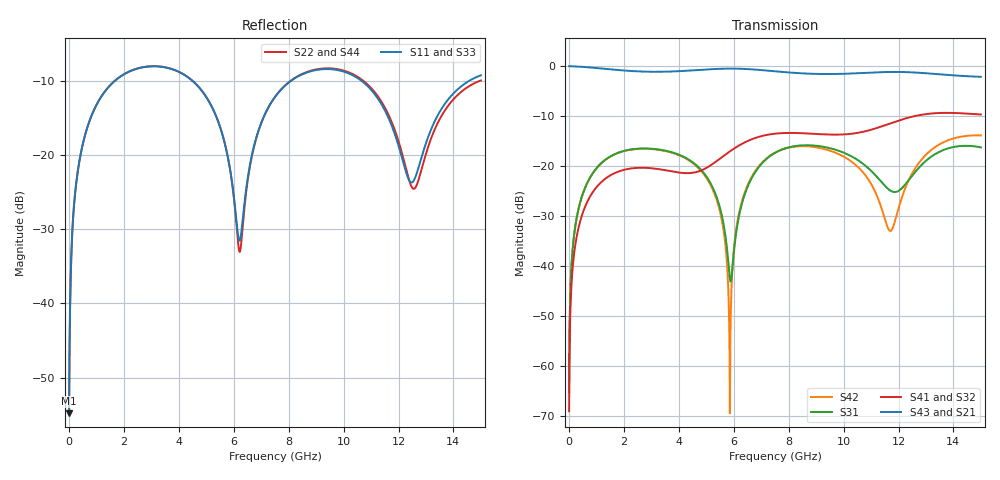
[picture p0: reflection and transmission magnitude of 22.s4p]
! Created with skrf 1.8.0 (http://scikit-rf.org).
# GHz S RI R 50.0
!freq ReS11 ImS11 ReS12 ImS12 ReS13 ImS13
! ReS14 ImS14
! ReS21 ImS21 ReS22 ImS22 ReS23 ImS23
! ReS24 ImS24
! ReS31 ImS31 ReS32 ImS32 ReS33 ImS33
! ReS34 ImS34
! ReS41 ImS41 ReS42 ImS42 ReS43 ImS43
! ReS44 ImS44
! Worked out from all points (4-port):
!   2499 points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, 5 MHz to 15 GHz, reference 50 ohm
!   strongest paths, dB at 5 MHz, 3.476 GHz, 7.19 GHz, 11.1 GHz, 15 GHz:
!     S43: 0.0, -1.1, -0.9, -1.3, -2.1
!     S21: 0.0, -1.1, -0.9, -1.3, -2.1
!     S41: -69.1, -20.8, -13.8, -12.6, -9.7
!     S32: -69.1, -20.9, -13.8, -12.6, -9.8
!     S31: -65.3, -16.9, -18.6, -21.5, -16.3
!     S42: -65.3, -17.0, -18.5, -24.6, -13.9
!   lowest |S11| = -54.8 dB at 5 MHz (marker M1), VSWR 1.00, Z = 50.1 + j0.111 ohm
!   |S11| at or under -10 dB: start of sweep to 1.67 GHz; 4.494 GHz to 8.085 GHz (3.591 GHz wide, 57.1 % of centre); 10.65 GHz to 14.58 GHz (3.924 GHz wide, 31.1 % of centre)
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0.005  0.00145 0.0011  0.9985 -0.00282  7.1e-05 0.000541  -6.91e-05 -0.000344
       0.9985 -0.00282  0.00145 0.0011  -6.91e-05 -0.000344  7.09e-05 0.000541
       7.1e-05 0.000541  -6.91e-05 -0.000344  0.00145 0.0011  0.9985 -0.00282
       -6.91e-05 -0.000344  7.09e-05 0.000541  0.9985 -0.00282  0.00145 0.0011
0.3626511  0.0243 0.0838  0.9666 -0.2027  0.0109 0.0372  -0.00905 -0.0234
           0.9666 -0.2027  0.0243 0.0838  -0.00904 -0.0234  0.0108 0.0372
           0.0109 0.0372  -0.00904 -0.0234  0.0243 0.0838  0.9666 -0.2027
           -0.00905 -0.0234  0.0108 0.0372  0.9666 -0.2027  0.0243 0.0838
1.619545  0.2457 0.1893  0.6021 -0.6983  0.1131 0.0631  -0.0825 -0.0144
          0.6021 -0.6983  0.2463 0.1889  -0.0824 -0.0146  0.1118 0.0646
          0.1131 0.0631  -0.0824 -0.0146  0.2458 0.1893  0.6021 -0.6983
          -0.0825 -0.0144  0.1118 0.0646  0.6021 -0.6983  0.2462 0.189
4.945811  0.1759 -0.1834  -0.6822 -0.6216  0.0365 -0.0741  -0.042 0.0839
          -0.6822 -0.6216  0.1736 -0.187  -0.0439 0.0822  0.0424 -0.0682
          0.0365 -0.0741  -0.0439 0.0822  0.1752 -0.1841  -0.6822 -0.6217
          -0.042 0.0839  0.0424 -0.0682  -0.6822 -0.6217  0.1741 -0.186
5.858691  0.0391 -0.0715  -0.9136 -0.2388  -0.00705 -0.00256  -0.0293 0.1369
          -0.9136 -0.2388  0.0352 -0.0737  -0.0328 0.136  -0.000332 -3.77e-05
          -0.00705 -0.00256  -0.0328 0.136  0.0379 -0.0716  -0.9136 -0.2389
          -0.0293 0.1369  -0.000332 -3.77e-05  -0.9136 -0.2389  0.0363 -0.0732
7.29679  0.1411 0.1624  -0.7853 0.4351  0.101 0.0721  0.1283 0.1623
         -0.7853 0.4351  0.1385 0.1642  0.1239 0.165  0.1022 0.0728
         0.101 0.0721  0.1239 0.165  0.1407 0.1634  -0.7854 0.435
         0.1283 0.1623  0.1022 0.0728  -0.7854 0.435  0.1388 0.1634
15  0.3328 0.0892  0.3569 -0.6955  0.1503 -0.0309  -0.3167 -0.0853
    0.3569 -0.6955  0.3062 0.0863  -0.3088 -0.1025  0.1809 -0.0912
    0.1503 -0.0309  -0.3088 -0.1025  0.336 0.0915  0.3574 -0.6948
    -0.3167 -0.0853  0.1809 -0.0912  0.3574 -0.6948  0.3042 0.087
